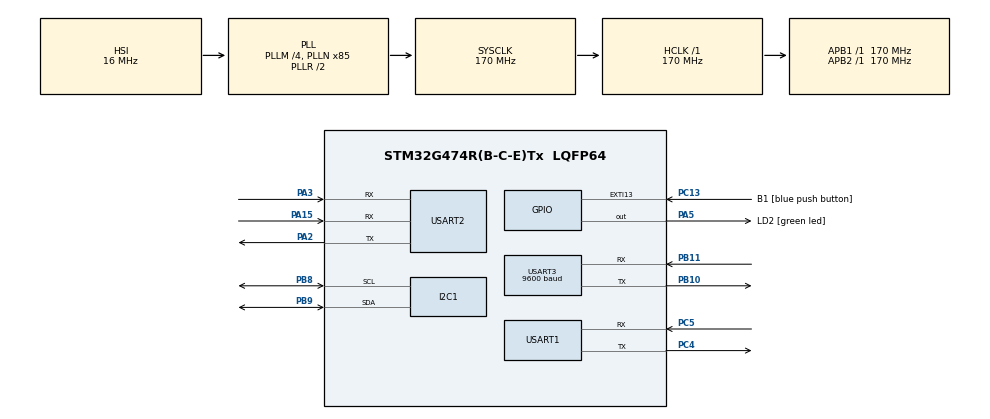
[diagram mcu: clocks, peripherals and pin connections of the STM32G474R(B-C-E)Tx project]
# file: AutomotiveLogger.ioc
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I2C1.Timing=0x40B285C2
Mcu.Family=STM32G4
Mcu.Name=STM32G474R(B-C-E)Tx
Mcu.Package=LQFP64
NUCLEO-G474RE.Bsp_Common_DEMO=true
NUCLEO-G474RE.VCP=true
NVIC.EXTI15_10_IRQn=true\:0\:0\:false\:false\:true\:true\:true\:true
NVIC.I2C1_EV_IRQn=true\:0\:0\:false\:false\:true\:true\:true\:true
NVIC.PriorityGroup=NVIC_PRIORITYGROUP_4
NVIC.USART1_IRQn=true\:0\:0\:false\:false\:true\:true\:true\:true
NVIC.USART3_IRQn=true\:0\:0\:false\:false\:true\:true\:true\:true
PA13.GPIO_Label=T_SWDIO
PA13.Signal=SYS_JTMS-SWDIO
PA14.GPIO_Label=T_SWCLK
PA14.Signal=SYS_JTCK-SWCLK
PA15.Mode=Asynchronous
PA15.Signal=USART2_RX
PA2.Mode=Asynchronous
PA2.Signal=USART2_TX
PA3.Mode=Asynchronous
PA3.Signal=USART2_RX
PA5.GPIO_Label=LD2 [green led]
PA5.Signal=GPIO_Output
PB10.Mode=Asynchronous
PB10.Signal=USART3_TX
PB11.Mode=Asynchronous
PB11.Signal=USART3_RX
PB3.GPIO_Label=T_SWO
PB3.Signal=SYS_JTDO-SWO
PB8-BOOT0.Mode=I2C
PB8-BOOT0.Signal=I2C1_SCL
PB9.Mode=I2C
PB9.Signal=I2C1_SDA
PC13.GPIO_Label=B1 [blue push button]
PC13.Signal=GPXTI13
PC14-OSC32_IN.GPIO_Label=RCC_OSC32_IN
PC14-OSC32_IN.Signal=RCC_OSC32_IN
PC15-OSC32_OUT.GPIO_Label=RCC_OSC32_OUT
PC15-OSC32_OUT.Signal=RCC_OSC32_OUT
PC4.Mode=Asynchronous
PC4.Signal=USART1_TX
PC5.Mode=Asynchronous
PC5.Signal=USART1_RX
PF0-OSC_IN.GPIO_Label=RCC_OSC_IN
PF0-OSC_IN.Signal=RCC_OSC_IN
PF1-OSC_OUT.GPIO_Label=RCC_OSC_OUT
PF1-OSC_OUT.Signal=RCC_OSC_OUT
ProjectManager.HeapSize=0x200
ProjectManager.StackSize=0x400
ProjectManager.TargetToolchain=STM32CubeIDE
RCC.ADC12Freq_Value=170000000
RCC.ADC345Freq_Value=170000000
RCC.AHBFreq_Value=170000000
RCC.APB1Freq_Value=170000000
RCC.APB1TimFreq_Value=170000000
RCC.APB2Freq_Value=170000000
RCC.APB2TimFreq_Value=170000000
RCC.CortexFreq_Value=170000000
RCC.EXTERNAL_CLOCK_VALUE=12288000
RCC.HCLKFreq_Value=170000000
RCC.HSE_VALUE=24000000
RCC.HSI48_VALUE=48000000
RCC.HSI_VALUE=16000000
RCC.LSE_VALUE=32768
RCC.PLLM=RCC_PLLM_DIV4
RCC.PLLN=85
RCC.RTCClockSelection=RCC_RTCCLKSOURCE_LSE
RCC.SYSCLKFreq_VALUE=170000000
RCC.SYSCLKSource=RCC_SYSCLKSOURCE_PLLCLK
RCC.USBFreq_Value=170000000
RCC.VCOOutputFreq_Value=340000000
USART1.VirtualMode-Asynchronous=VM_ASYNC
USART2.VirtualMode-Asynchronous=VM_ASYNC
USART3.BaudRate=9600
USART3.VirtualMode-Asynchronous=VM_ASYNC
VP_NUCLEO-G474RE_VS_BSP_COMMON.Mode=COMMON
VP_SYS_VS_DBSignals.Mode=DisableDeadBatterySignals
board=NUCLEO-G474RE

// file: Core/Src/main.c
/* USER CODE BEGIN Header */
/**
  ******************************************************************************
  * @file           : main.c
  * @brief          : Main program body
  ******************************************************************************
  * @attention
  *
  * Copyright (c) 2025 STMicroelectronics.
  * All rights reserved.
  *
  * This software is licensed under terms that can be found in the LICENSE file
  * in the root directory of this software component.
  * If no LICENSE file comes with this software, it is provided AS-IS.
  *
  ******************************************************************************
  */
/* USER CODE END Header */
#include "main.h"
#include "i2c.h"
#include "usart.h"
#include "gpio.h"

/* USER CODE BEGIN Includes */
#include "gps.h"
#include "string.h"
#include "MPU6050.h"
/* USER CODE END Includes */

COM_InitTypeDef BspCOMInit;
__IO uint32_t BspButtonState = BUTTON_RELEASED;

/* USER CODE BEGIN PV */
float Ax, Ay, Az;
float Gx, Gy, Gz;
extern I2C_HandleTypeDef hi2c1;
extern UART_HandleTypeDef huart2;

#define MPU6050_ADDR 0xD0   // endereço I2C (AD0 = GND → 0x68)

#define MPU6050_ACCEL_XOUT_H 0x3B
/* USER CODE END PV */

void SystemClock_Config(void);

/* USER CODE BEGIN 0 */
// Implementação das funções usadas no driver
/* USER CODE END 0 */

int main(void)
{

  /* MCU Configuration--------------------------------------------------------*/

  /* Reset of all peripherals, Initializes the Flash interface and the Systick. */
  HAL_Init();

  /* Configure the system clock */
  SystemClock_Config();

  /* Initialize all configured peripherals */
  MX_GPIO_Init();
  MX_I2C1_Init();
  MX_USART1_UART_Init();
  MX_USART3_UART_Init();
  MX_USART2_UART_Init();
  /* USER CODE BEGIN 2 */
  //GPS_Init();

  MPU6050_init();

  /* USER CODE END 2 */

  /* Initialize COM1 port (115200, 8 bits (7-bit data + 1 stop bit), no parity */
  BspCOMInit.BaudRate   = 115200;
  BspCOMInit.WordLength = COM_WORDLENGTH_8B;
  BspCOMInit.StopBits   = COM_STOPBITS_1;
  BspCOMInit.Parity     = COM_PARITY_NONE;
  BspCOMInit.HwFlowCtl  = COM_HWCONTROL_NONE;
  if (BSP_COM_Init(COM1, &BspCOMInit) != BSP_ERROR_NONE)
  {
    Error_Handler();
  }

  /* USER CODE BEGIN BSP */

  /* -- Sample board code to send message over COM1 port ---- */
  printf("Welcome to STM32 world !\n\r");

  HAL_StatusTypeDef ret = HAL_I2C_IsDeviceReady(&hi2c1, 0b1101000 <<1 + 0 , 1, 100);

  if (ret == HAL_OK){
	  printf("The Device is Ready \n");
  } else {
	  printf("Device not ready \n");
  }

  /* USER CODE END BSP */

  /* Infinite loop */
  /* USER CODE BEGIN WHILE */
  uint8_t Rec_Data[14];

  while (1)
  {
	  // Write registers
	  // Lê dados do sensor
	  MPU6050_Read_Gyro(&Gx, &Gy, &Gz);
	  MPU6050_Read_Accel(&Ax, &Ay, &Az);
	  printf("Ax=%.2f Ay=%.2f Az=%.2f | Gx=%.2f Gy=%.2f Gz=%.2f\r\n",
	                   Ax, Ay, Az, Gx, Gy, Gz);
	  HAL_Delay(500);
    /* USER CODE END WHILE */

  }
}

void SystemClock_Config(void)
{
  RCC_OscInitTypeDef RCC_OscInitStruct = {0};
  RCC_ClkInitTypeDef RCC_ClkInitStruct = {0};

  /** Configure the main internal regulator output voltage
  */
  HAL_PWREx_ControlVoltageScaling(PWR_REGULATOR_VOLTAGE_SCALE1_BOOST);

  /** Initializes the RCC Oscillators according to the specified parameters
  * in the RCC_OscInitTypeDef structure.
  */
  RCC_OscInitStruct.OscillatorType = RCC_OSCILLATORTYPE_HSI;
  RCC_OscInitStruct.HSIState = RCC_HSI_ON;
  RCC_OscInitStruct.HSICalibrationValue = RCC_HSICALIBRATION_DEFAULT;
  RCC_OscInitStruct.PLL.PLLState = RCC_PLL_ON;
  RCC_OscInitStruct.PLL.PLLSource = RCC_PLLSOURCE_HSI;
  RCC_OscInitStruct.PLL.PLLM = RCC_PLLM_DIV4;
  RCC_OscInitStruct.PLL.PLLN = 85;
  RCC_OscInitStruct.PLL.PLLP = RCC_PLLP_DIV2;
  RCC_OscInitStruct.PLL.PLLQ = RCC_PLLQ_DIV2;
  RCC_OscInitStruct.PLL.PLLR = RCC_PLLR_DIV2;
  if (HAL_RCC_OscConfig(&RCC_OscInitStruct) != HAL_OK)
  {
    Error_Handler();
  }

  /** Initializes the CPU, AHB and APB buses clocks
  */
  RCC_ClkInitStruct.ClockType = RCC_CLOCKTYPE_HCLK|RCC_CLOCKTYPE_SYSCLK
                              |RCC_CLOCKTYPE_PCLK1|RCC_CLOCKTYPE_PCLK2;
  RCC_ClkInitStruct.SYSCLKSource = RCC_SYSCLKSOURCE_PLLCLK;
  RCC_ClkInitStruct.AHBCLKDivider = RCC_SYSCLK_DIV1;
  RCC_ClkInitStruct.APB1CLKDivider = RCC_HCLK_DIV1;
  RCC_ClkInitStruct.APB2CLKDivider = RCC_HCLK_DIV1;

  if (HAL_RCC_ClockConfig(&RCC_ClkInitStruct, FLASH_LATENCY_4) != HAL_OK)
  {
    Error_Handler();
  }
}

/* USER CODE BEGIN 4 */
void HAL_UART_RxCpltCallback(UART_HandleTypeDef *huart)
{
  if (huart == &huart3) {
    GPS_UART_CallBack();
  }
}
/* USER CODE END 4 */

void Error_Handler(void)
{
  __disable_irq();
  while (1)
  {
  }
}
